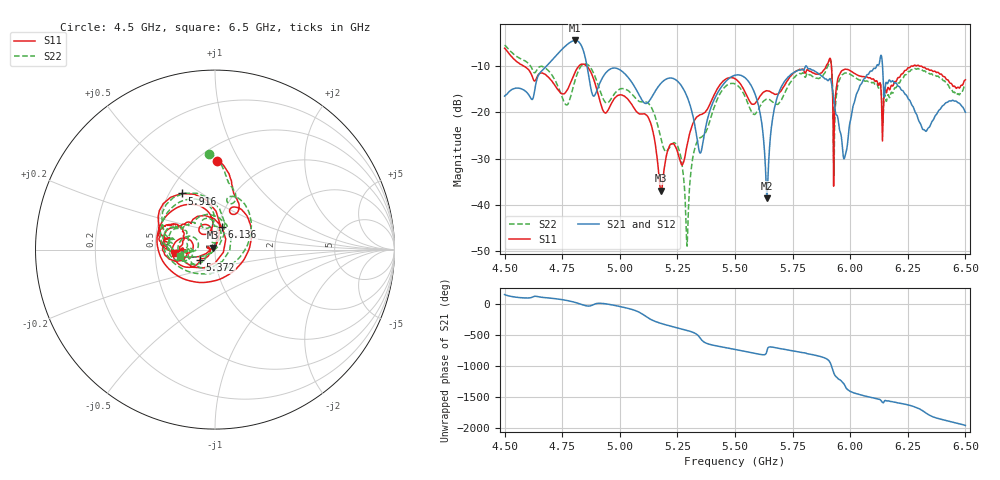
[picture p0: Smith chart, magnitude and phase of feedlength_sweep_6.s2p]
! TOUCHSTONE file generated by CST MICROWAVE STUDIO
! Date and time: Fri Nov 29 14:48:27 2024
! Project name: dual_circularly_polarized_waveguide_antenna.cst
! Parameters = {airCoaxOuterDiameter=3; chamferAngle=45; chamferWidth=24; connectorLength=10; drillingHoleDiameter=4.1; feedLength=105; flareDiameter=130; flareLength=70; gratingDistance=0; gratingGap=1.90274; outletLength=60; polarizerLength=134; probe1Diameter=1.3; probe1Distance=14.068; probe1Len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
! Header version: 2018
! Port assignment regex: !\s*Touchstone port\s*([0-9]+)\s*=\s*(CST MWS port|CST DS port)\s*([0-9]+|Zmin|Zmax)\s*\(\"(.*)\"\)(\s*mode\s*([0-9]+))?.*
! Touchstone port assignment:
! Touchstone port 1 = CST MWS port 1 ("Input1")
! Touchstone port 2 = CST MWS port 2 ("Input2")
# GHz S MA R 50
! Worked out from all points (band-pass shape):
!   1001 points, 4.5 GHz to 6.5 GHz, reference 50 ohm
!   highest |S21| = -4.43 dB at 4.806 GHz (marker M1); lowest = -38.6 dB at 5.638 GHz (marker M2)
!   |S21| within 3 dB of the highest: 4.728 GHz to 4.846 GHz (118 MHz wide, 2.46 % of centre)
!   lowest |S11| = -36.9 dB at 5.18 GHz (marker M3), VSWR 1.03, Z = 49.1 + j1.07 ohm
!   |S11| at or under -10 dB: 4.584 GHz to 4.822 GHz (238.3 MHz wide, 5.07 % of centre); 4.857 GHz to 5.895 GHz (1.039 GHz wide, 19.3 % of centre); 5.918 GHz to 6.264 GHz (345.5 MHz wide, 5.67 % of centre)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
!   |S22| runs from -49.0 to -5.4 dB; largest |S21 - S12| = 7.5e-07
!   S11 on the Smith chart (normalised r, x): 4.5 GHz: 0.62, +0.81; 5.372 GHz: 0.84, -0.10; 5.916 GHz: 0.58, +0.42; 6.136 GHz: 1.05, +0.27; 6.5 GHz: 0.63, -0.03
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4.5  0.4949 88.4  0.1501 159.7  0.1501 159.7  0.5353 93.5
4.806  0.2722 -154.3  0.6007 32.3  0.6007 32.3  0.2226 -154.7
4.834  0.3323 162.2  0.5228 -0.7  0.5228 -0.7  0.3211 160.1
4.886  0.2307 103.4  0.15 -2.4  0.15 -2.4  0.2667 101.6
5.12  0.09125 92.9  0.1267 148.3  0.1267 148.3  0.128 84.6
5.168  0.02313 80.5  0.1916 64.5  0.1916 64.5  0.06715 65.4
5.18  0.01425 129.9  0.2083 50.3  0.2083 50.3  0.05064 70.1
5.256  0.03339 162.4  0.2109 -27.1  0.2109 -27.1  0.03988 98.0
5.292  0.04411 -139.1  0.1479 -62.0  0.1479 -62.0  0.003567 162.4
5.372  0.1016 -145.1  0.06788 96.5  0.06788 96.5  0.06008 -144.2
5.5  0.2312 173.4  0.2526 -8.7  0.2526 -8.7  0.2031 170.7
5.592  0.1298 -176.9  0.1453 -78.5  0.1453 -78.5  0.0988 176.5
5.638  0.1716 -177.2  0.01173 -40.2  0.01173 -40.2  0.1394 179.9
5.696  0.1669 -166.8  0.1777 3.5  0.1777 3.5  0.1304 -166.1
5.834  0.2708 166.1  0.2882 -92.7  0.2882 -92.7  0.247 164.9
5.916  0.3636 120.7  0.2242 110.9  0.2242 110.9  0.3585 118.8
5.934  0.1295 -160.8  0.109 -72.2  0.109 -72.2  0.09576 -155.5
5.976  0.2939 166.2  0.03242 131.4  0.03242 131.4  0.2668 166.3
6.136  0.132 72.6  0.4067 -128.7  0.4067 -128.7  0.1535 65.2
6.168  0.1801 177.0  0.2227 -126.4  0.2227 -126.4  0.1493 178.3
6.322  0.3068 154.3  0.06466 56.7  0.06466 56.7  0.2818 155.0
6.5  0.2253 -175.2  0.1003 -162.0  0.1003 -162.0  0.1992 -169.4
